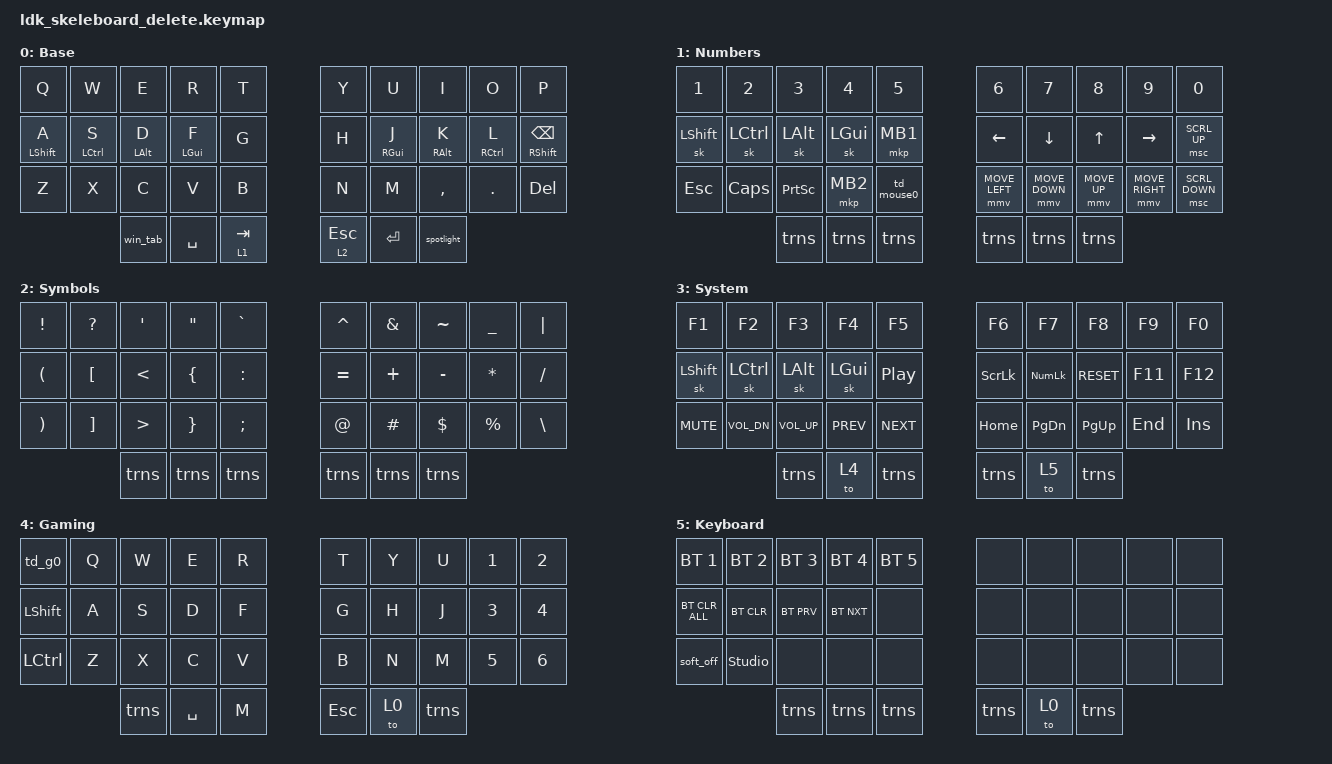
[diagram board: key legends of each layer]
#define ZMK_POINTING_DEFAULT_MOVE_VAL 1500  // default: 600
#define ZMK_POINTING_DEFAULT_SCRL_VAL 20    // default: 10
#define COMBO(NAME, BINDINGS, KEYPOS) \
combo_##NAME { \
    timeout-ms = <50>; \
    bindings = <BINDINGS>; \
    key-positions = <KEYPOS>; \
    layers = <0>; \
};

#include <behaviors.dtsi>
#include <dt-bindings/zmk/keys.h>
#include <dt-bindings/zmk/bt.h>
#include <dt-bindings/zmk/pointing.h>

#define BASE 0
#define NUMBERS 1
#define SYMBOLS 2
#define SYSTEM 3
#define GAMING 4
#define KEYBOARD 5

// Behavior Overrides
&lt {
  tapping-term-ms = <200>;
  flavor = "hold-preferred";
};

&soft_off {
  hold-time-ms = <5000>; // Only turn off it the key is held for 5 seconds or longer.
};

/ {
  macros {
    // Spotlight
    spotlight: spotlight {
      compatible = "zmk,behavior-macro";
      #binding-cells = <0>;
      bindings = <&macro_press &kp LGUI>, <&macro_tap &kp SPACE>, <&macro_release &kp LGUI>; 
    };
    // Win + Tab
    win_tab: win_tab {
      compatible = "zmk,behavior-macro";
      #binding-cells = <0>;
      bindings = <&macro_press &kp LGUI>, <&macro_tap &kp TAB>, <&macro_release &kp LGUI>;
    };
    // Vim Exit
    vim_exit: vim_exit {
      compatible = "zmk,behavior-macro";
      #binding-cells = <0>;
      bindings = <&macro_tap     &kp COLON &kp Q>;
    };
    // Vim Write
    vim_write: vim_write {
      compatible = "zmk,behavior-macro";
      #binding-cells = <0>;
      bindings = <&macro_tap     &kp COLON &kp W>;
    };
  };

  conditional_layers {
    compatible = "zmk,conditional-layers";
    tri_layer {
      if-layers = <1 2>;
      then-layer = <3>;
    };
  };

  combos {
    compatible = "zmk,combos";

    //   0  1  2  3  4 		 5  6  7  8  9
    //  10 11 12 13 14 		15 16 17 18 19
    //  20 21 22 23 24 		25 26 27 28 29
    //        30 31 32		33 34 35

    COMBO(to_layer,&to 4,31 32 33 34)
    COMBO(escape0,&kp ESC,0 1)
    COMBO(escape1,&kp ESC, 1 2)
    COMBO(escape2,&kp ESC,7 8)
    COMBO(tab,&kp TAB,2 3)
    COMBO(vim_quit,&vim_quit,25 26)
    COMBO(vim_write,&vim_write,26 27)
  };

  behaviors {
    hm: homerow_mods {  
    compatible = "zmk,behavior-hold-tap";
    #binding-cells = <2>;
    tapping-term-ms = <150>;
    quick-tap-ms = <0>;
    flavor = "tap-preferred";
    bindings = <&kp>, <&kp>;
    };
    td_g0: tap_dance_gaming_0 {
      compatible = "zmk,behavior-tap-dance";
      #binding-cells = <0>;
      tapping-term-ms = <200>;
      bindings = <&kp N1>, <&kp N2>, <&kp N3>;
    };
    td_mouse0: tap_dance_mouse_0 {
      compatible = "zmk,behavior-tap-dance";
      #binding-cells = <0>;
      tapping-term-ms = <200>;
      bindings = <&mkp MB1>, <&mkp MB2>, <&mkp MB3>;
    };

  };

  keymap {
    compatible = "zmk,keymap";

    base_layer {
      display-name = "Base";
      bindings = <
        &kp Q         &kp W         &kp E       &kp R       &kp T     &kp Y     &kp U       &kp I       &kp O       &kp P
        &hm LSHIFT A  &hm LCTRL S   &hm LALT D  &hm LGUI F  &kp G     &kp H     &hm RGUI J  &hm RALT K  &hm RCTRL L &hm RSHIFT BSPC
        &kp Z         &kp X         &kp C       &kp V       &kp B     &kp N     &kp M       &kp COMMA   &kp DOT     &kp DEL 
        &win_tab      &kp SPACE     &lt 1 TAB   &lt 2 ESC   &kp ENTER &spotlight
      >;
    };

    number_layer {
      display-name = "Numbers";
      bindings = <
        &kp N1      &kp N2      &kp N3      &kp  N4     &kp N5      &kp N6          &kp N7          &kp N8            &kp N9          &kp N0
        &sk LSHIFT  &sk LCTRL   &sk LALT    &sk LGUI    &mkp MB1    &kp LEFT        &kp DOWN        &kp UP            &kp RIGHT       &msc SCRL_UP
        &kp ESC     &kp CAPS    &kp PSCRN   &mkp MB2    &td_mouse0  &mmv MOVE_LEFT  &mmv MOVE_DOWN  &mmv MOVE_UP      &mmv MOVE_RIGHT &msc SCRL_DOWN
        &trns       &trns       &trns       &trns       &trns       &trns
      >;

    };

    symbols_layer {
      display-name = "Symbols";
      bindings = <
        &kp EXCL     &kp QMARK    &kp SQT     &kp DQT     &kp GRAVE      &kp CARET     &kp AMPS      &kp TILDE     &kp UNDER     &kp PIPE
        &kp LPAR     &kp LBKT     &kp LT      &kp LBRC    &kp COLON      &kp EQUAL     &kp PLUS      &kp MINUS     &kp STAR     &kp FSLH
        &kp RPAR     &kp RBKT     &kp GT      &kp RBRC    &kp SEMI       &kp AT        &kp POUND     &kp DLLR     &kp PRCNT     &kp BSLH
        &trns        &trns        &trns       &trns       &trns          &trns
      >;

    };

    system_layer {
      display-name = "System";
      bindings = <
        &kp F1      &kp F2        &kp F3        &kp F4      &kp F5     &kp F6       &kp F7        &kp F8        &kp F9      &kp F0
        &sk LSHIFT  &sk LCTRL     &sk LALT      &sk LGUI    &kp C_PP   &kp SLCK     &kp KP_NUM    &kp C_RESET   &kp F11     &kp F12
        &kp C_MUTE  &kp C_VOL_DN  &kp C_VOL_UP  &kp C_PREV  &kp C_NEXT &kp HOME     &kp PG_DN     &kp PG_UP     &kp END     &kp INSERT
        &trns       &to 4     &trns     &trns     &to 5     &trns
      >;
    };

    gaming_layer {
      display-name = "Gaming";
      bindings = <
        &td_g0     &kp Q     &kp W     &kp E     &kp R     &kp T     &kp Y     &kp U     &kp N1     &kp N2
        &kp LSHIFT &kp A     &kp S     &kp D     &kp F     &kp G     &kp H     &kp J     &kp N3     &kp N4
        &kp LCTRL  &kp Z     &kp X     &kp C     &kp V     &kp B     &kp N     &kp M     &kp N5     &kp N6
        &trns      &kp SPACE &kp M     &kp ESC   &to 0     &trns
      >;
    };

    keyboard_layer {
      display-name = "Keyboard";
      bindings = <
        &bt BT_SEL 1    &bt BT_SEL 2    &bt BT_SEL 3  &bt BT_SEL 4  &bt BT_SEL 5      &none &none &none &none &none 
        &bt BT_CLR_ALL  &bt BT_CLR      &bt BT_PRV    &bt BT_NXT    &none             &none &none &none &none &none 
        &soft_off       &studio_unlock  &none         &none         &none             &none &none &none &none &none 
        &trns           &trns           &trns         &trns         &to 0             &trns
      >;
    };
  };
};

